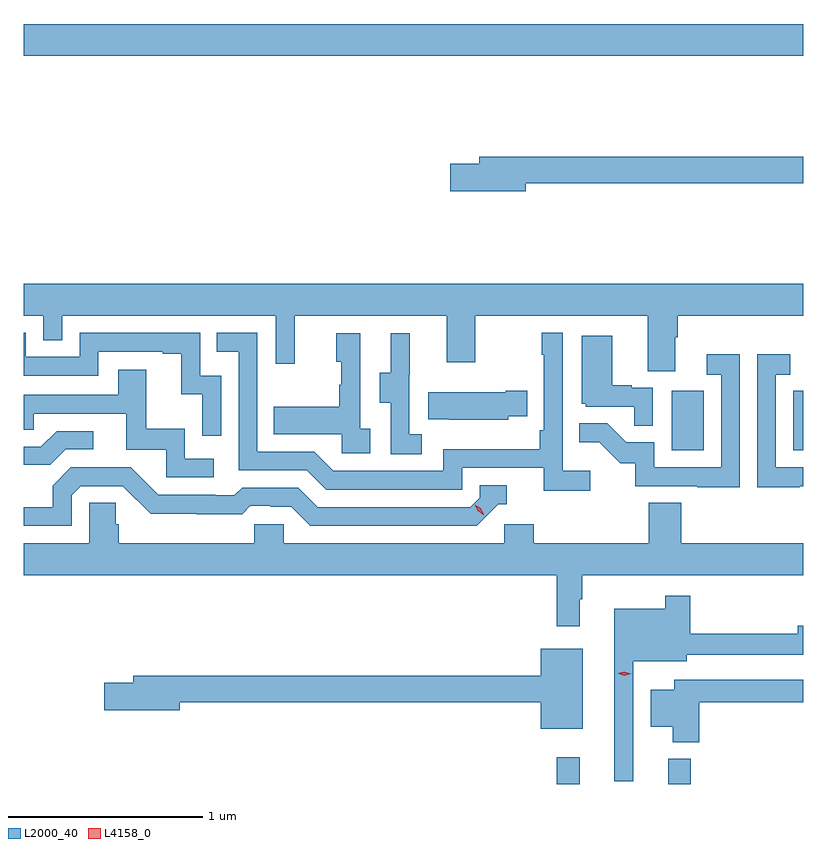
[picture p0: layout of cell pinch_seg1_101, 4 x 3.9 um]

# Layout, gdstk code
import gdstk
lib = gdstk.Library(unit=1e-6, precision=1e-09)
def R(c, l, rs):  # rectangles x0, y0, x1, y1
    for r in rs: c.add(gdstk.rectangle(r[:2], r[2:], *l))
def P(c, l, *ps):  # polygons
    for p in ps: c.add(gdstk.Polygon(p, *l))
L2000_40 = (2000, 40)
L4158_0 = (4158, 0)

pinch_seg1_101 = lib.new_cell('pinch_seg1_101')
R(pinch_seg1_101, L2000_40, [(1033.459,561.316,1033.577,561.454), (1034.03,561.316,1034.147,561.445), (1034.048,563.028,1034.212,563.335), (1034.672,563.028,1034.723,563.335), (1030.723,565.052,1034.723,565.216)])
P(pinch_seg1_101, L2000_40, [(1033.3,564.4),(1034.723,564.4),(1034.723,564.536),(1033.061,564.536),(1033.061,564.5),(1032.912,564.5),(1032.912,564.358),(1033.3,564.358)],
  [(1030.723,563.72),(1030.824,563.72),(1030.824,563.593),(1030.92,563.593),(1030.92,563.72),(1032.015,563.72),(1032.015,563.472),(1032.113,563.472),(1032.113,563.72),(1032.893,563.72),(1032.893,563.481),(1033.041,563.481),(1033.041,563.72),(1033.925,563.72),(1033.925,563.434),(1034.065,563.434),(1034.065,563.608),(1034.078,563.608),(1034.078,563.72),(1034.723,563.72),(1034.723,563.884),(1030.723,563.884)],
  [(1033.63,562.924),(1033.488,562.924),(1033.488,563.632),(1033.38,563.632),(1033.38,563.519),(1033.392,563.519),(1033.392,563.131),(1033.372,563.131),(1033.372,563.035),(1032.876,563.035),(1032.876,562.923),(1032.312,562.923),(1032.213,563.022),(1031.922,563.022),(1031.922,563.631),(1031.713,563.631),(1031.713,563.535),(1031.826,563.535),(1031.826,562.926),(1032.176,562.926),(1032.275,562.827),(1032.972,562.827),(1032.972,562.938),(1033.391,562.938),(1033.391,562.822),(1033.63,562.822)],
  [(1031.736,563.412),(1031.628,563.412),(1031.628,563.631),(1031.01,563.631),(1031.01,563.508),(1030.734,563.508),(1030.734,563.631),(1030.723,563.631),(1030.723,563.412),(1031.106,563.412),(1031.106,563.535),(1031.435,563.535),(1031.435,563.523),(1031.531,563.523),(1031.531,563.315),(1031.64,563.315),(1031.64,563.103),(1031.736,563.103)],
  [(1032.766,563.111),(1032.702,563.111),(1032.702,563.415),(1032.704,563.415),(1032.704,563.629),(1032.605,563.629),(1032.605,563.427),(1032.551,563.427),(1032.551,563.272),(1032.606,563.272),(1032.606,563.008),(1032.766,563.008)],
  [(1032.502,563.138),(1032.45,563.138),(1032.45,563.629),(1032.326,563.629),(1032.326,563.484),(1032.352,563.484),(1032.352,563.366),(1032.342,563.366),(1032.342,563.251),(1032.007,563.251),(1032.007,563.111),(1032.354,563.111),(1032.354,563.013),(1032.502,563.013)],
  [(1033.95,563.349),(1033.844,563.349),(1033.844,563.362),(1033.744,563.362),(1033.744,563.617),(1033.586,563.617),(1033.586,563.268),(1033.608,563.268),(1033.608,563.253),(1033.855,563.253),(1033.855,563.155),(1033.95,563.155)],
  [(1034.705,562.845),(1034.723,562.845),(1034.723,562.941),(1034.583,562.941),(1034.583,563.415),(1034.656,563.415),(1034.656,563.521),(1034.487,563.521),(1034.487,562.84),(1034.705,562.84)],
  [(1034.397,563.521),(1034.228,563.521),(1034.228,563.415),(1034.301,563.415),(1034.301,562.941),(1033.959,562.941),(1033.959,563.07),(1033.815,563.07),(1033.717,563.168),(1033.573,563.168),(1033.573,563.069),(1033.677,563.069),(1033.784,562.962),(1033.861,562.962),(1033.861,562.845),(1034.179,562.845),(1034.179,562.84),(1034.397,562.84)],
  [(1031.698,562.986),(1031.55,562.986),(1031.55,563.14),(1031.351,563.14),(1031.351,563.443),(1031.207,563.443),(1031.207,563.313),(1030.723,563.313),(1030.723,563.133),(1030.775,563.133),(1030.775,563.217),(1031.249,563.217),(1031.249,563.031),(1031.454,563.031),(1031.454,562.89),(1031.698,562.89)],
  [(1033.209,563.204),(1033.307,563.204),(1033.307,563.334),(1033.196,563.334),(1033.196,563.326),(1032.799,563.326),(1032.799,563.189),(1032.907,563.189),(1032.907,563.186),(1033.209,563.186)],
  [(1030.938,563.034),(1031.08,563.034),(1031.08,563.127),(1030.892,563.127),(1030.811,563.046),(1030.723,563.046),(1030.723,562.954),(1030.858,562.954)],
  [(1030.968,562.797),(1031.016,562.845),(1031.232,562.845),(1031.374,562.703),(1031.61,562.703),(1031.61,562.701),(1031.843,562.701),(1031.885,562.743),(1031.988,562.743),(1031.988,562.74),(1032.095,562.74),(1032.194,562.641),(1033.047,562.641),(1033.158,562.752),(1033.201,562.752),(1033.201,562.848),(1033.062,562.848),(1033.062,562.785),(1033.014,562.737),(1032.231,562.737),(1032.132,562.836),(1031.843,562.836),(1031.804,562.797),(1031.705,562.797),(1031.705,562.8),(1031.412,562.8),(1031.271,562.941),(1030.965,562.941),(1030.871,562.847),(1030.871,562.737),(1030.723,562.737),(1030.723,562.641),(1030.968,562.641)],
  [(1033.576,562.265),(1033.588,562.265),(1033.588,562.388),(1034.723,562.388),(1034.723,562.552),(1034.096,562.552),(1034.096,562.76),(1033.93,562.76),(1033.93,562.552),(1033.34,562.552),(1033.34,562.65),(1033.188,562.65),(1033.188,562.552),(1032.057,562.552),(1032.057,562.65),(1031.907,562.65),(1031.907,562.552),(1031.21,562.552),(1031.21,562.65),(1031.195,562.65),(1031.195,562.76),(1031.058,562.76),(1031.058,562.552),(1030.723,562.552),(1030.723,562.388),(1033.459,562.388),(1033.459,562.125),(1033.576,562.125)],
  [(1033.851,561.947),(1034.125,561.947),(1034.125,561.978),(1034.723,561.978),(1034.723,562.129),(1034.696,562.129),(1034.696,562.087),(1034.144,562.087),(1034.144,562.282),(1034.016,562.282),(1034.016,562.216),(1033.754,562.216),(1033.754,561.33),(1033.851,561.33)],
  [(1033.591,562.009),(1033.376,562.009),(1033.376,561.872),(1031.285,561.872),(1031.285,561.836),(1031.136,561.836),(1031.136,561.694),(1031.524,561.694),(1031.524,561.736),(1033.376,561.736),(1033.376,561.599),(1033.591,561.599)],
  [(1034.189,561.736),(1034.723,561.736),(1034.723,561.852),(1034.06,561.852),(1034.06,561.799),(1033.94,561.799),(1033.94,561.611),(1034.054,561.611),(1034.054,561.53),(1034.189,561.53)])
P(pinch_seg1_101, L4158_0, [(1033.804,561.872),(1033.77,561.884),(1033.769,561.884),(1033.77,561.884),(1033.805,561.892),(1033.84,561.881),(1033.841,561.881),(1033.84,561.881)],
  [(1033.082,562.697),(1033.052,562.717),(1033.037,562.75),(1033.037,562.75),(1033.037,562.75),(1033.067,562.73),(1033.083,562.697),(1033.083,562.697)])

lib.write_gds('pinch_seg1_101.gds')
